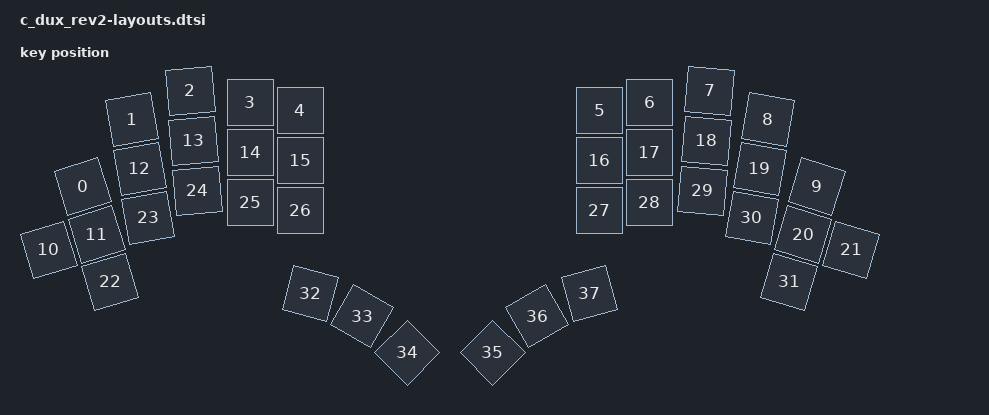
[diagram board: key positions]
#include <physical_layouts.dtsi>

/ {
    physical_layout0: physical_layout_0 {
        compatible = "zmk,physical-layout";
        display-name = "C. Dux v2";

        kscan = <&kscan0>;
        transform = <&matrix_transform0>;

        keys  //                     w   h    x    y     rot    rx    ry
            = <&key_physical_attrs 100 100   68  191 (-1700)   118   241>
            , <&key_physical_attrs 100 100  166   57 (-1000)   216   107>
            , <&key_physical_attrs 100 100  283    0  (-500)   333    50>
            , <&key_physical_attrs 100 100  403   23       0     0     0>
            , <&key_physical_attrs 100 100  503   40       0     0     0>
            , <&key_physical_attrs 100 100 1102   40       0     0     0>
            , <&key_physical_attrs 100 100 1202   23       0     0     0>
            , <&key_physical_attrs 100 100 1322    0     500  1372    50>
            , <&key_physical_attrs 100 100 1439   57    1000  1489   107>
            , <&key_physical_attrs 100 100 1536  191    1700  1586   241>
            , <&key_physical_attrs 100 100    0  318 (-1700)    50   368>
            , <&key_physical_attrs 100 100   96  287 (-1700)   146   337>
            , <&key_physical_attrs 100 100  182  156 (-1000)   232   206>
            , <&key_physical_attrs 100 100  290  100  (-500)   340   150>
            , <&key_physical_attrs 100 100  403  123       0     0     0>
            , <&key_physical_attrs 100 100  503  140       0     0     0>
            , <&key_physical_attrs 100 100 1102  140       0     0     0>
            , <&key_physical_attrs 100 100 1202  123       0     0     0>
            , <&key_physical_attrs 100 100 1315  100     500  1365   150>
            , <&key_physical_attrs 100 100 1422  156    1000  1472   206>
            , <&key_physical_attrs 100 100 1509  287    1700  1559   337>
            , <&key_physical_attrs 100 100 1605  318    1700  1655   368>
            , <&key_physical_attrs 100 100  123  382 (-1700)   173   432>
            , <&key_physical_attrs 100 100  199  254 (-1000)   249   304>
            , <&key_physical_attrs 100 100  297  200  (-500)   347   250>
            , <&key_physical_attrs 100 100  403  223       0     0     0>
            , <&key_physical_attrs 100 100  503  240       0     0     0>
            , <&key_physical_attrs 100 100 1102  240       0     0     0>
            , <&key_physical_attrs 100 100 1202  223       0     0     0>
            , <&key_physical_attrs 100 100 1308  200     500  1358   250>
            , <&key_physical_attrs 100 100 1406  254    1000  1456   304>
            , <&key_physical_attrs 100 100 1481  382    1700  1531   432>
            , <&key_physical_attrs 100 100  523  405    1500   573   455>
            , <&key_physical_attrs 100 100  627  451    3000   677   501>
            , <&key_physical_attrs 100 100  717  524    4500   767   574>
            , <&key_physical_attrs 100 100  888  524 (-4500)   938   574>
            , <&key_physical_attrs 100 100  977  451 (-3000)  1027   501>
            , <&key_physical_attrs 100 100 1082  405 (-1500)  1132   455>
            ;
    };
};
